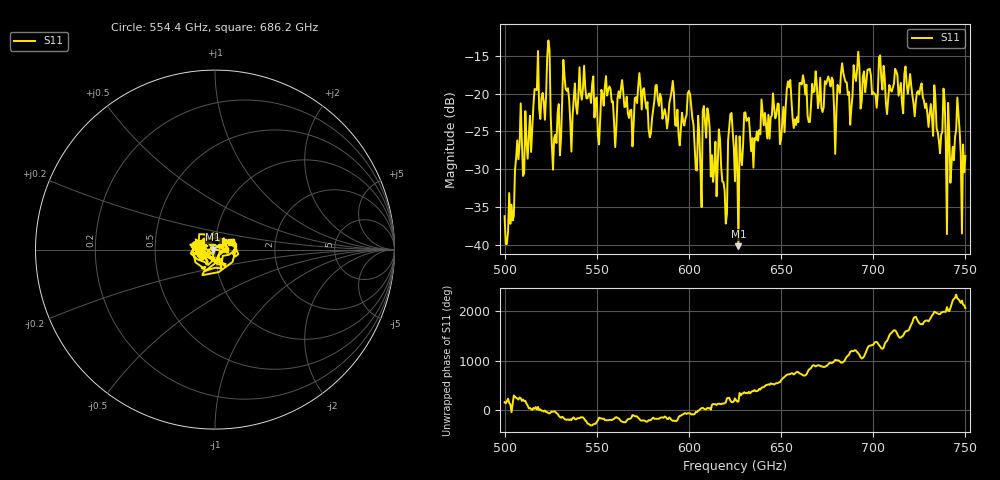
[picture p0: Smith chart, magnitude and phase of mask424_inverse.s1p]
!Created with skrf (http://scikit-rf.org).
# GHz S MA R 50.0
!freq magS11 angS11
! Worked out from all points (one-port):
!   401 points, 500 GHz to 750 GHz, reference 50 ohm
!   lowest |S11| = -40.2 dB at 626.9 GHz (marker M1), VSWR 1.02, Z = 49 + j0.0137 ohm
!   |S11| at or under -10 dB: start of sweep to end of sweep
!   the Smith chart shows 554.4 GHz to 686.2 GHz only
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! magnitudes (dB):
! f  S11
! 500 GHz  -36.2
! 516.9 GHz  -19.4
! 520.6 GHz  -19.9
! 523.8 GHz  -13.0
! 526.9 GHz  -25.9
! 531.2 GHz  -20.7
! 562.5 GHz  -20.6
! 579.4 GHz  -25.3
! 590.6 GHz  -19.6
! 593.8 GHz  -22.1
! 600.6 GHz  -20.1
! 605.6 GHz  -25.3
! 609.4 GHz  -25.8
! 619.4 GHz  -32.8
! 622.5 GHz  -22.7
! 625 GHz  -31.6
! 626.9 GHz  -40.2
! 631.2 GHz  -23.6
! 635 GHz  -29.8
! 656.2 GHz  -23.2
! 676.9 GHz  -19.1
! 680 GHz  -22.5
! 683.8 GHz  -17.2
! 687.5 GHz  -24.1
! 690.6 GHz  -18.3
! 718.8 GHz  -20.0
! 741.2 GHz  -25.3
! 750 GHz  -28.3
